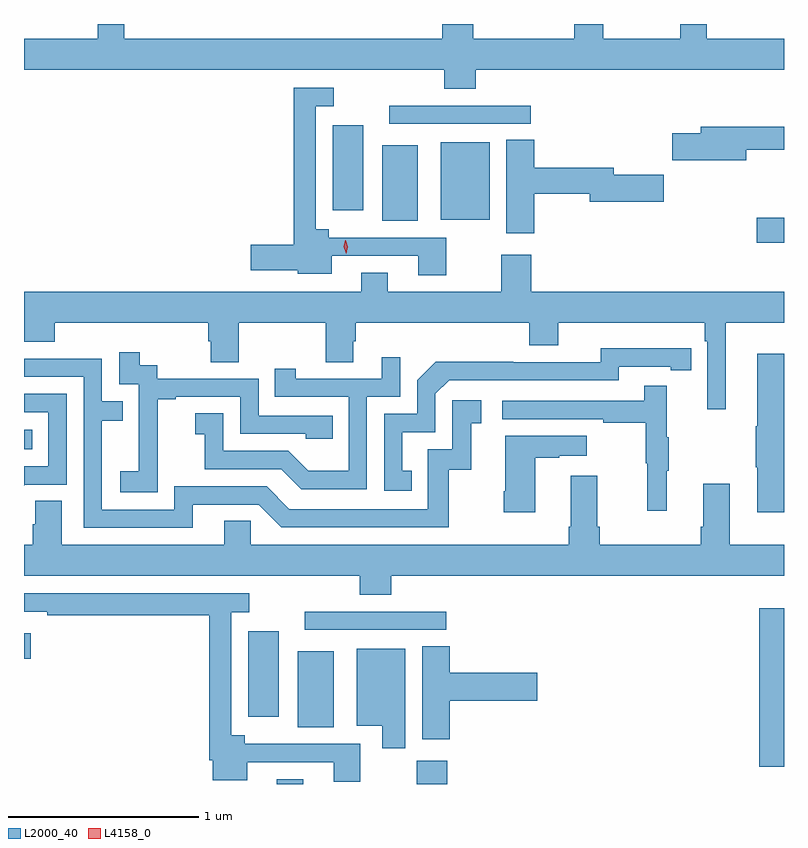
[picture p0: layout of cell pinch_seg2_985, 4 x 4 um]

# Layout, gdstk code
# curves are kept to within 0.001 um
import gdstk
lib = gdstk.Library(unit=1e-6, precision=1e-09)
def R(c, l, rs):  # rectangles x0, y0, x1, y1
    for r in rs: c.add(gdstk.rectangle(r[:2], r[2:], *l))
def P(c, l, *ps):  # polygons
    for p in ps: c.add(gdstk.Polygon(p, *l))
L2000_40 = (2000, 40)
L4158_0 = (4158, 0)

pinch_seg2_985 = lib.new_cell('pinch_seg2_985')
R(pinch_seg2_985, L2000_40, [(238.955,613.241,239.095,613.267), (239.692,613.241,239.852,613.363), (241.496,613.332,241.625,614.167), (239.066,613.541,239.254,613.939), (238.805,613.596,238.966,614.044), (237.625,613.901,237.661,614.035), (239.103,614.052,239.848,614.148), (237.625,615.002,237.668,615.106), (241.482,616.091,241.625,616.221), (239.51,616.205,239.698,616.603), (239.819,616.211,240.076,616.618), (239.249,616.26,239.41,616.708), (239.547,616.716,240.292,616.812)])
P(pinch_seg2_985, L2000_40, [(239.99,617.241),(239.825,617.241),(239.825,617.164),(238.152,617.164),(238.152,617.241),(238.013,617.241),(238.013,617.164),(237.625,617.164),(237.625,617),(239.837,617),(239.837,616.901),(240.002,616.901),(240.002,617),(241.625,617),(241.625,617.164),(241.219,617.164),(241.219,617.241),(241.079,617.241),(241.079,617.164),(240.673,617.164),(240.673,617.241),(240.521,617.241),(240.521,617.164),(239.99,617.164)],
  [(239.847,616.116),(239.23,616.116),(239.23,616.162),(239.16,616.162),(239.16,616.809),(239.254,616.809),(239.254,616.905),(239.044,616.905),(239.044,616.079),(238.818,616.079),(238.818,615.944),(239.067,615.944),(239.067,615.926),(239.245,615.926),(239.245,616.02),(239.699,616.02),(239.699,615.918),(239.847,615.918)],
  [(241.426,616.578),(241.625,616.578),(241.625,616.699),(241.187,616.699),(241.187,616.665),(241.038,616.665),(241.038,616.523),(241.426,616.523)],
  [(240.311,616.348),(240.602,616.348),(240.602,616.306),(240.991,616.306),(240.991,616.448),(240.73,616.448),(240.73,616.484),(240.311,616.484),(240.311,616.631),(240.164,616.631),(240.164,616.14),(240.311,616.14)],
  [(241.318,615.668),(241.625,615.668),(241.625,615.832),(240.296,615.832),(240.296,616.027),(240.136,616.027),(240.136,615.832),(239.539,615.832),(239.539,615.931),(239.399,615.931),(239.399,615.832),(237.625,615.832),(237.625,615.569),(237.788,615.569),(237.788,615.668),(238.595,615.668),(238.595,615.57),(238.607,615.57),(238.607,615.46),(238.755,615.46),(238.755,615.668),(239.212,615.668),(239.212,615.46),(239.359,615.46),(239.359,615.57),(239.372,615.57),(239.372,615.668),(240.284,615.668),(240.284,615.551),(240.436,615.551),(240.436,615.668),(241.208,615.668),(241.208,615.572),(241.221,615.572),(241.221,615.213),(241.318,615.213)],
  [(239.666,614.889),(239.617,614.889),(239.617,615.093),(239.79,615.093),(239.79,615.294),(239.862,615.366),(240.756,615.366),(240.756,615.438),(241.028,615.438),(241.028,615.418),(241.136,615.418),(241.136,615.534),(240.66,615.535),(240.66,615.462),(240.2,615.462),(240.2,615.464),(239.792,615.464),(239.694,615.366),(239.694,615.189),(239.52,615.189),(239.52,614.784),(239.666,614.784)],
  [(238.329,614.983),(238.328,614.983),(238.328,615.267),(238.423,615.267),(238.423,615.279),(238.764,615.279),(238.764,615.084),(239.109,615.084),(239.109,615.057),(239.249,615.057),(239.249,615.18),(238.86,615.18),(238.86,615.375),(238.326,615.375),(238.326,615.444),(238.234,615.444),(238.234,615.514),(238.125,615.514),(238.125,615.345),(238.23,615.345),(238.23,615.116),(238.229,615.116),(238.229,614.887),(238.131,614.887),(238.131,614.777),(238.329,614.777)],
  [(241.625,615.505),(241.484,615.505),(241.484,615.125),(241.477,615.125),(241.477,614.908),(241.484,614.908),(241.484,614.67),(241.625,614.67)],
  [(239.43,615.279),(239.604,615.279),(239.604,615.487),(239.507,615.487),(239.507,615.375),(239.056,615.375),(239.056,615.427),(238.945,615.427),(238.945,615.279),(239.334,615.279),(239.334,614.89),(239.12,614.89),(239.016,614.994),(238.674,614.994),(238.674,615.193),(238.527,615.193),(238.527,615.083),(238.576,615.083),(238.576,614.898),(238.979,614.898),(239.084,614.793),(239.43,614.793)],
  [(238.513,614.712),(238.86,614.712),(238.98,614.592),(239.86,614.592),(239.86,614.895),(239.978,614.895),(239.978,615.141),(240.031,615.141),(240.031,615.262),(239.88,615.262),(239.88,615.003),(239.751,615.003),(239.751,614.688),(239.022,614.688),(238.902,614.808),(238.416,614.808),(238.416,614.685),(238.035,614.685),(238.035,615.154),(238.145,615.154),(238.145,615.255),(238.035,615.255),(238.035,615.48),(237.625,615.48),(237.625,615.384),(237.939,615.384),(237.939,614.589),(238.513,614.589)],
  [(241.007,614.891),(241.018,614.891),(241.018,615.065),(241.007,615.065),(241.007,615.337),(240.889,615.337),(240.889,615.258),(240.141,615.258),(240.141,615.162),(240.673,615.162),(240.673,615.142),(240.897,615.142),(240.897,614.928),(240.904,614.928),(240.904,614.679),(241.007,614.679)],
  [(237.63,614.817),(237.849,614.817),(237.849,615.294),(237.625,615.294),(237.625,615.198),(237.753,615.198),(237.753,614.913),(237.625,614.913),(237.625,614.812)],
  [(240.316,614.959),(240.443,614.959),(240.443,614.969),(240.586,614.969),(240.586,615.073),(240.158,615.073),(240.158,614.782),(240.151,614.782),(240.151,614.67),(240.316,614.67)],
  [(239.558,614.336),(241.625,614.336),(241.625,614.5),(241.339,614.5),(241.339,614.821),(241.199,614.821),(241.199,614.596),(241.187,614.596),(241.187,614.5),(240.656,614.5),(240.656,614.596),(240.643,614.596),(240.643,614.863),(240.503,614.863),(240.503,614.596),(240.491,614.596),(240.491,614.5),(238.818,614.5),(238.818,614.627),(238.679,614.627),(238.679,614.5),(237.823,614.5),(237.823,614.732),(237.684,614.732),(237.684,614.609),(237.671,614.609),(237.671,614.5),(237.625,614.5),(237.625,614.336),(239.393,614.336),(239.393,614.237),(239.558,614.237)],
  [(239.395,613.452),(238.786,613.452),(238.786,613.498),(238.716,613.498),(238.716,614.144),(238.81,614.144),(238.81,614.244),(237.625,614.244),(237.625,614.148),(237.748,614.148),(237.748,614.128),(238.6,614.128),(238.6,613.366),(238.619,613.366),(238.619,613.262),(238.801,613.262),(238.801,613.356),(239.255,613.356),(239.255,613.254),(239.395,613.254)],
  [(239.867,613.679),(240.325,613.679),(240.325,613.826),(239.867,613.826),(239.867,613.967),(239.72,613.967),(239.72,613.476),(239.867,613.476)],
  [(239.632,613.954),(239.375,613.954),(239.375,613.547),(239.51,613.547),(239.51,613.428),(239.632,613.428)])
P(pinch_seg2_985, L4158_0, [(239.32,616.033),(239.32,616.033),(239.309,616.068),(239.317,616.104),(239.317,616.104),(239.318,616.104),(239.329,616.069),(239.32,616.033)])

lib.write_gds('pinch_seg2_985.gds')
